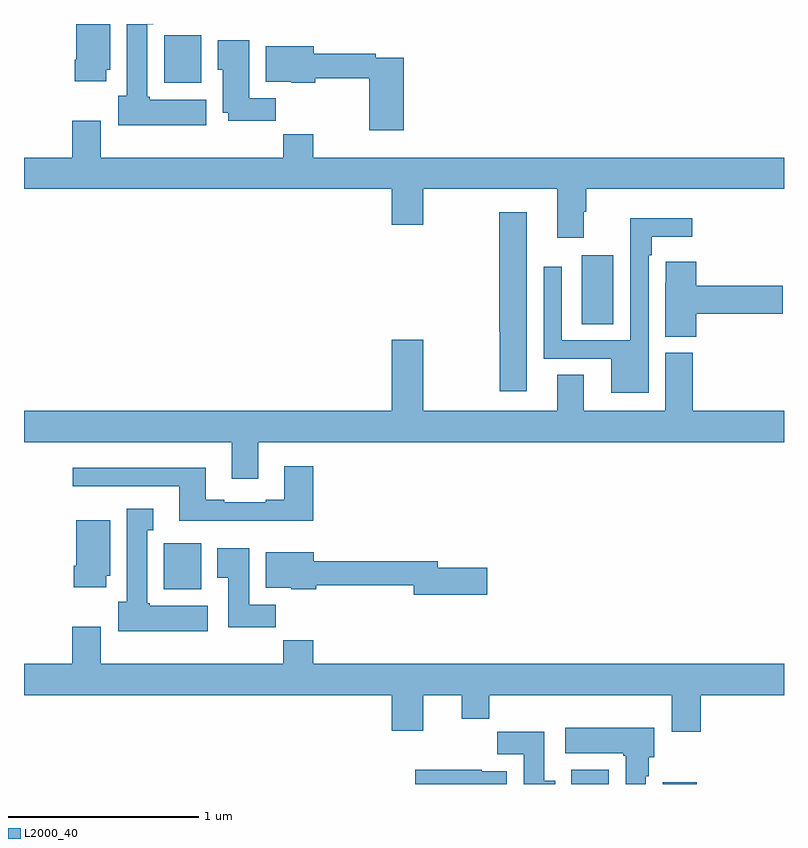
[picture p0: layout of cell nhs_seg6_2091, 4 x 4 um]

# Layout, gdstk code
import gdstk
lib = gdstk.Library(unit=1e-6, precision=1e-09)
def R(c, l, rs):  # rectangles x0, y0, x1, y1
    for r in rs: c.add(gdstk.rectangle(r[:2], r[2:], *l))
def P(c, l, *ps):  # polygons
    for p in ps: c.add(gdstk.Polygon(p, *l))
L2000_40 = (2000, 40)

nhs_seg6_2091 = lib.new_cell('nhs_seg6_2091')
R(nhs_seg6_2091, L2000_40, [(237.881,981.5,238.078,981.574), (238.361,981.5,238.54,981.508), (235.736,982.526,235.933,982.768), (237.935,983.92,238.102,984.283), (235.737,985.19,235.933,985.44)])
P(nhs_seg6_2091, L2000_40, [(235.432,985.26),(235.453,985.26),(235.453,985.5),(235.274,985.5),(235.274,985.312),(235.267,985.312),(235.267,985.2),(235.432,985.2)],
  [(235.96,985.102),(235.662,985.102),(235.662,985.116),(235.648,985.116),(235.648,985.499),(235.681,985.499),(235.681,985.5),(235.541,985.5),(235.541,985.122),(235.496,985.122),(235.496,984.968),(235.96,984.968)],
  [(236.324,985.108),(236.185,985.108),(236.185,985.414),(236.021,985.414),(236.021,985.26),(236.045,985.26),(236.045,985.034),(236.075,985.034),(236.075,984.99),(236.324,984.99)],
  [(236.999,985.323),(236.852,985.323),(236.852,985.343),(236.524,985.343),(236.524,985.384),(236.273,985.384),(236.273,985.196),(236.406,985.196),(236.406,985.19),(236.532,985.19),(236.532,985.215),(236.816,985.215),(236.816,984.942),(236.999,984.942)],
  [(237.946,984.512),(237.959,984.512),(237.959,984.632),(239,984.632),(239,984.796),(236.522,984.796),(236.522,984.92),(236.365,984.92),(236.365,984.796),(235.405,984.796),(235.405,984.991),(235.253,984.991),(235.253,984.796),(235,984.796),(235,984.632),(236.936,984.632),(236.936,984.444),(237.1,984.444),(237.1,984.632),(237.806,984.632),(237.806,984.375),(237.946,984.375)],
  [(237.646,984.508),(237.5,984.508),(237.5,983.88),(237.505,983.88),(237.505,983.568),(237.646,983.568)],
  [(238.287,984.284),(238.303,984.284),(238.303,984.38),(238.516,984.38),(238.516,984.478),(238.191,984.478),(238.191,983.835),(237.831,983.835),(237.831,984.223),(237.735,984.223),(237.735,983.739),(238.091,983.739),(238.091,983.558),(238.287,983.558)],
  [(238.538,983.975),(238.993,983.975),(238.993,984.122),(238.538,984.122),(238.538,984.25),(238.377,984.25),(238.377,984.137),(238.376,984.137),(238.376,983.854),(238.538,983.854)],
  [(236.233,983.3),(239,983.3),(239,983.464),(238.52,983.464),(238.52,983.769),(238.376,983.769),(238.376,983.464),(237.946,983.464),(237.946,983.654),(237.806,983.654),(237.806,983.464),(237.1,983.464),(237.1,983.839),(236.936,983.839),(236.936,983.464),(235,983.464),(235,983.3),(236.093,983.3),(236.093,983.106),(236.233,983.106)],
  [(236.522,983.173),(236.369,983.173),(236.369,982.996),(236.273,982.996),(236.273,982.983),(236.053,982.983),(236.053,982.996),(235.957,982.996),(235.957,983.164),(235.257,983.164),(235.257,983.067),(235.817,983.067),(235.817,982.886),(236.522,982.886)],
  [(235.966,982.438),(235.662,982.438),(235.662,982.452),(235.648,982.452),(235.648,982.835),(235.681,982.835),(235.681,982.948),(235.541,982.948),(235.541,982.458),(235.496,982.458),(235.496,982.304),(235.966,982.304)],
  [(235.432,982.596),(235.453,982.596),(235.453,982.888),(235.274,982.888),(235.274,982.648),(235.262,982.648),(235.262,982.536),(235.432,982.536)],
  [(236.324,982.444),(236.185,982.444),(236.185,982.741),(236.018,982.741),(236.018,982.585),(236.075,982.585),(236.075,982.326),(236.324,982.326)],
  [(237.439,982.637),(237.178,982.637),(237.178,982.673),(236.524,982.673),(236.524,982.72),(236.273,982.72),(236.273,982.532),(236.406,982.532),(236.406,982.526),(236.537,982.526),(236.537,982.545),(237.05,982.545),(237.05,982.495),(237.439,982.495)],
  [(238.562,981.968),(239,981.968),(239,982.132),(236.522,982.132),(236.522,982.256),(236.365,982.256),(236.365,982.132),(235.405,982.132),(235.405,982.327),(235.253,982.327),(235.253,982.132),(235,982.132),(235,981.968),(236.936,981.968),(236.936,981.78),(237.1,981.78),(237.1,981.968),(237.305,981.968),(237.305,981.844),(237.449,981.844),(237.449,981.968),(238.409,981.968),(238.409,981.774),(238.562,981.774)],
  [(238.273,981.542),(238.288,981.542),(238.288,981.642),(238.318,981.642),(238.318,981.796),(237.849,981.796),(237.849,981.662),(238.153,981.662),(238.153,981.649),(238.166,981.649),(238.166,981.5),(238.273,981.5)],
  [(237.796,981.516),(237.739,981.516),(237.739,981.775),(237.49,981.775),(237.49,981.656),(237.629,981.656),(237.629,981.5),(237.796,981.5)],
  [(237.541,981.568),(237.408,981.568),(237.408,981.574),(237.06,981.574),(237.06,981.5),(237.541,981.5)])

lib.write_gds('nhs_seg6_2091.gds')
